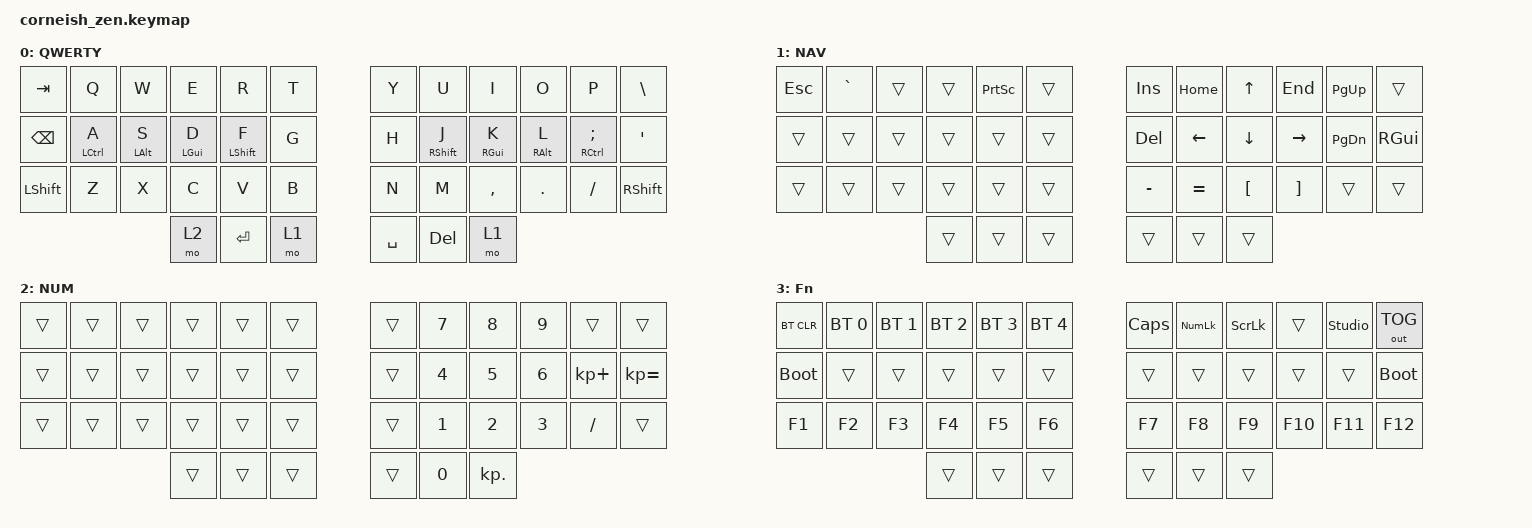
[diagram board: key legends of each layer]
/*
 * Copyright (c) 2020 The ZMK Contributors
 *
 * SPDX-License-Identifier: MIT
 */

#include <behaviors.dtsi>
#include <dt-bindings/zmk/bt.h>
#include <dt-bindings/zmk/keys.h>
#include <dt-bindings/zmk/outputs.h>

/ {
    chosen {
        zmk,matrix_transform = &default_transform;

        // zmk,matrix_transform = &five_column_transform;
    };
};

/ {
    behaviors {
        tpmt: tpmt {
            compatible = "zmk,behavior-hold-tap";
            label = "TPMT";
            bindings = <&kp>, <&kp>;

            #binding-cells = <2>;
            flavor = "tap-preferred";
            tapping-term-ms = <200>;
            require-prior-idle-ms = <125>;
            quick-tap-ms = <125>;
        };
    };

    keymap {
        compatible = "zmk,keymap";

        default_layer {
            display-name = "QWERTY";

            // --------------------------------------------------------------------------------
            // |  TAB |  Q  |  W  |  E  |  R  |  T  |   |  Y  |  U   |  I  |  O  |  P  | BKSP |
            // | CTRL |  A  |  S  |  D  |  F  |  G  |   |  H  |  J   |  K  |  L  |  ;  |  '   | 
            // | SHFT |  Z  |  X  |  C  |  V  |  B  |   |  N  |  M   |  ,  |  .  |  /  | ESC  |
            //                    | GUI | LWR | SPC |   | ENT | RSE  | ALT |

            bindings = <
&kp TAB        &kp Q          &kp W             &kp E         &kp R           &kp T    &kp Y      &kp U          &kp I         &kp O         &kp P                  &kp BACKSLASH
&kp BACKSPACE  &tpmt LCTRL A  &tpmt LEFT_ALT S  &tpmt LGUI D  &tpmt LSHIFT F  &kp G    &kp H      &tpmt RSHFT J  &tpmt RGUI K  &tpmt RALT L  &tpmt RCTRL SEMICOLON  &kp SQT
&kp LSHFT      &kp Z          &kp X             &kp C         &kp V           &kp B    &kp N      &kp M          &kp COMMA     &kp DOT       &kp FSLH               &kp RSHFT
                                                &mo 2         &kp ENTER       &mo 1    &kp SPACE  &kp DEL        &mo 1
            >;
        };

        lower_layer {
            display-name = "NAV";

            // -----------------------------------------------------------------------------------------
            // |  TAB |  1  |  2  |  3  |  4  |  5  |   |  6  |  7  |  8  |  9  |  0  | BKSP |
            // | BTCLR| BT1 | BT2 | BT3 | BT4 | BT5 |   | LFT | DWN |  UP | RGT |     |      |
            // | SHFT |     |     |     |     |     |   |     |     |     |     |     |      |
            //                    | GUI |     | SPC |   | ENT |     | ALT |

            bindings = <
&kp ESC  &kp GRAVE  &trans  &trans  &kp PRINTSCREEN  &trans    &kp INS    &kp HOME   &kp UP    &kp END    &kp PG_UP  &trans
&trans   &trans     &trans  &trans  &trans           &trans    &kp DEL    &kp LEFT   &kp DOWN  &kp RIGHT  &kp PG_DN  &kp RGUI
&trans   &trans     &trans  &trans  &trans           &trans    &kp MINUS  &kp EQUAL  &kp LBKT  &kp RBKT   &trans     &trans
                            &trans  &trans           &trans    &trans     &trans     &trans
            >;
        };

        raise_layer {
            display-name = "NUM";

            // -----------------------------------------------------------------------------------------
            // |  TAB |  !  |  @  |  #  |  $  |  %  |   |  ^  |  &  |  *  |  (  |  )  | BKSP |
            // | CTRL |     |     |     |     |     |   |  -  |  =  |  [  |  ]  |  \  |  `   |
            // | SHFT |     |     |     |     |     |   |  _  |  +  |  {  |  }  | "|" |  ~   |
            //                    | GUI |     | SPC |   | ENT |     | ALT |

            bindings = <
&trans  &trans  &trans  &trans  &trans  &trans    &trans  &kp N7  &kp N8      &kp N9  &trans       &trans
&trans  &trans  &trans  &trans  &trans  &trans    &trans  &kp N4  &kp N5      &kp N6  &kp KP_PLUS  &kp KP_EQUAL
&trans  &trans  &trans  &trans  &trans  &trans    &trans  &kp N1  &kp N2      &kp N3  &kp SLASH    &trans
                        &trans  &trans  &trans    &trans  &kp N0  &kp KP_DOT
            >;
        };

        sys_layer {
            display-name = "Fn";
            bindings = <
&bt BT_CLR   &bt BT_SEL 0  &bt BT_SEL 1  &bt BT_SEL 2  &bt BT_SEL 3  &bt BT_SEL 4    &kp CAPS  &kp KP_NUMLOCK  &kp SCROLLLOCK  &trans   &studio_unlock   &out OUT_TOG
&bootloader  &trans        &trans        &trans        &trans        &trans          &trans    &trans          &trans          &trans   &trans   &bootloader
&kp F1       &kp F2        &kp F3        &kp F4        &kp F5        &kp F6          &kp F7    &kp F8          &kp F9          &kp F10  &kp F11  &kp F12
                                         &trans        &trans        &trans          &trans    &trans          &trans
            >;
        };

        extra1 {
            status = "reserved";
        };

        extra2 {
            status = "reserved";
        };

        extra3 {
            status = "reserved";
        };

    };

    conditional_layers {
        compatible = "zmk,conditional-layers";

        adjust_layer {
            if-layers = <1 2>;
            then-layer = <3>;
        };
    };
};
